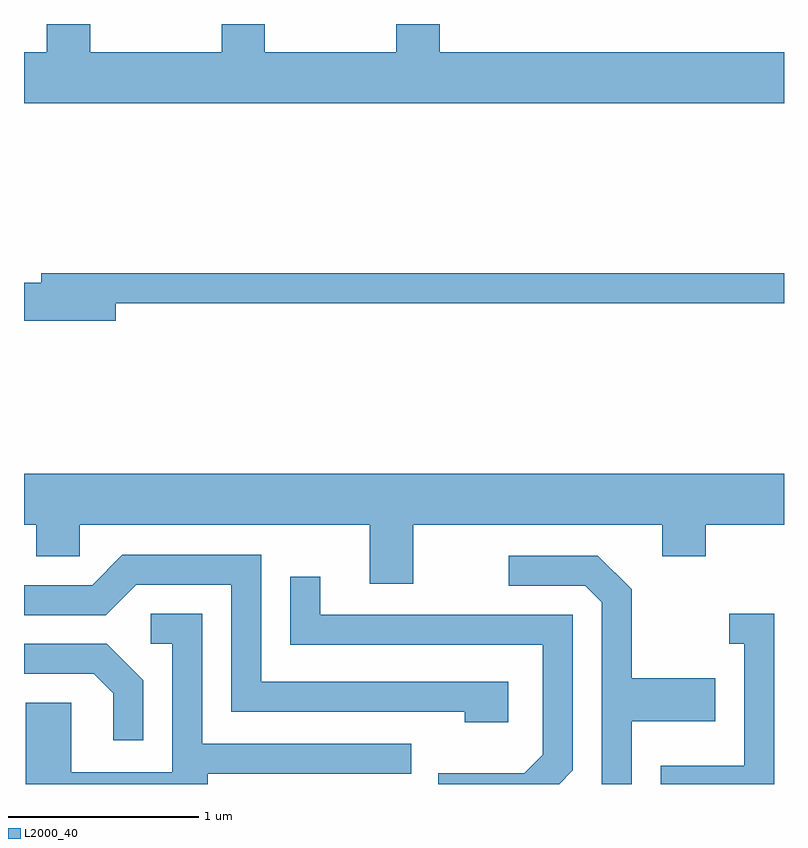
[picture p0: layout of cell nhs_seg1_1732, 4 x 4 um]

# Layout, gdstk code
import gdstk
lib = gdstk.Library(unit=1e-6, precision=1e-09)
def P(c, l, *ps):  # polygons
    for p in ps: c.add(gdstk.Polygon(p, *l))
L2000_40 = (2000, 40)

nhs_seg1_1732 = lib.new_cell('nhs_seg1_1732')
P(nhs_seg1_1732, L2000_40, [(241.611,957.564),(239.799,957.564),(239.799,957.712),(239.571,957.712),(239.571,957.564),(238.879,957.564),(238.879,957.712),(238.651,957.712),(238.651,957.564),(237.959,957.564),(237.959,957.712),(237.731,957.712),(237.731,957.564),(237.611,957.564),(237.611,957.296),(241.611,957.296)],
  [(238.094,956.241),(241.611,956.241),(241.611,956.399),(237.701,956.399),(237.701,956.349),(237.611,956.349),(237.611,956.151),(238.094,956.151)],
  [(239.659,955.076),(240.971,955.076),(240.971,954.911),(241.199,954.911),(241.199,955.076),(241.611,955.076),(241.611,955.344),(237.611,955.344),(237.611,955.076),(237.676,955.076),(237.676,954.911),(237.904,954.911),(237.904,955.076),(239.431,955.076),(239.431,954.766),(239.659,954.766)],
  [(240.159,954.249),(238.859,954.249),(238.859,954.919),(238.129,954.919),(237.969,954.759),(237.611,954.759),(237.611,954.601),(238.042,954.601),(238.202,954.761),(238.701,954.761),(238.701,954.091),(239.931,954.091),(239.931,954.036),(240.159,954.036)],
  [(240.809,954.041),(241.249,954.041),(241.249,954.269),(240.809,954.269),(240.809,954.737),(240.632,954.914),(240.163,954.914),(240.163,954.756),(240.564,954.756),(240.651,954.669),(240.651,953.712),(240.809,953.712)],
  [(240.499,953.784),(240.499,954.604),(239.169,954.604),(239.169,954.803),(239.011,954.803),(239.011,954.446),(240.341,954.446),(240.341,953.867),(240.244,953.769),(239.791,953.769),(239.791,953.712),(240.427,953.712)],
  [(238.579,953.766),(239.648,953.766),(239.648,953.924),(238.549,953.924),(238.549,954.609),(238.278,954.609),(238.278,954.451),(238.391,954.451),(238.391,953.774),(237.859,953.774),(237.859,954.139),(237.621,954.139),(237.621,953.712),(238.579,953.712)],
  [(241.559,954.609),(241.323,954.609),(241.323,954.451),(241.401,954.451),(241.401,953.809),(240.961,953.809),(240.961,953.712),(241.559,953.712)],
  [(238.239,954.257),(238.047,954.449),(237.611,954.449),(237.611,954.291),(237.979,954.291),(238.081,954.189),(238.081,953.943),(238.239,953.943)])

lib.write_gds('nhs_seg1_1732.gds')
